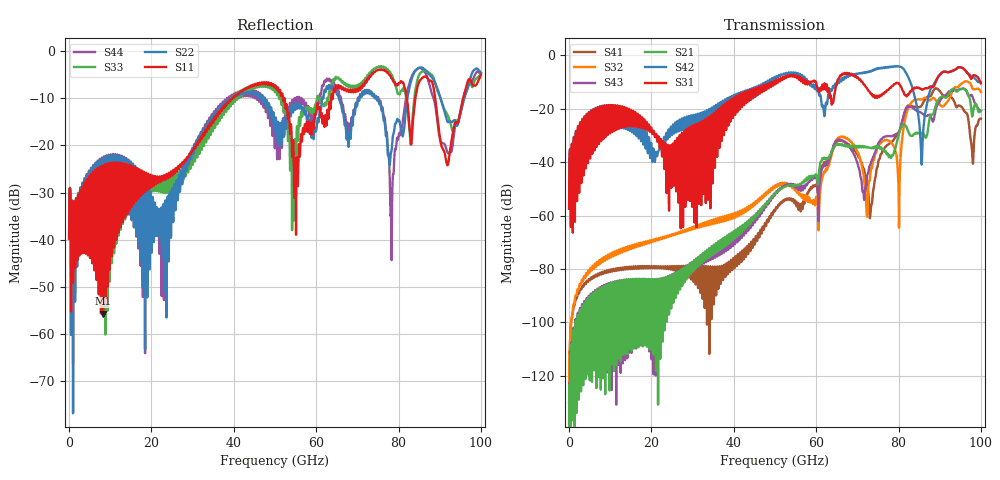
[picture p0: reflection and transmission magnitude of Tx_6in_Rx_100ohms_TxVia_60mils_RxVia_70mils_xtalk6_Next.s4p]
! Info: Touchstone file created by Circ.  Input file=Tx_6in_Rx_100ohms_TxVia_60mils_RxVia_70mils.circ
# Hz S RI R 50
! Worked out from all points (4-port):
!   10000 points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, 10 MHz to 100 GHz, reference 50 ohm
!   strongest paths, dB at 10 MHz, 25.01 GHz, 50.01 GHz, 75.01 GHz, 100 GHz:
!     S31: -57.3, -35.6, -10.3, -15.1, -10.5
!     S42: -57.3, -29.8, -8.7, -5.0, -10.0
!     S21: -139.3, -82.6, -52.0, -34.6, -20.7
!     S43: -137.3, -82.2, -52.4, -33.4, -20.9
!     S32: -130.4, -67.1, -49.1, -34.4, -13.7
!     S41: -130.4, -78.9, -58.3, -40.7, -23.7
!   lowest |S11| = -55.7 dB at 8.27 GHz (marker M1), VSWR 1.00, Z = 50.1 - j0.142 ohm
!   |S11| at or under -10 dB: start of sweep to 39.54 GHz; 52.32 GHz to 63.65 GHz (11.33 GHz wide, 19.5 % of centre); 88.91 GHz to 95.7 GHz (6.794 GHz wide, 7.36 % of centre)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
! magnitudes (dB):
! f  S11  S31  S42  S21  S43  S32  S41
! 10 MHz  -39.8  -57.3  -57.3  -139.3  -137.3  -130.4  -130.4
! 8.27 GHz  -55.7  -28.4  -26.3  -99.7  -100.4  -76.6  -81.6
! 62.91 GHz  -13.9  -12.9  -14.9  -38.5  -39.8  -41.2  -39.4
! 73.24 GHz  -5.4  -14.5  -6.0  -34.6  -40.5  -43.0  -58.0
! 78.33 GHz  -5.7  -11.6  -4.2  -37.7  -30.2  -32.8  -32.4
! 85.59 GHz  -5.8  -12.7  -40.4  -29.2  -21.6  -16.6  -18.8
! 100 GHz  -5.0  -10.5  -10.0  -20.7  -20.9  -13.7  -23.7
